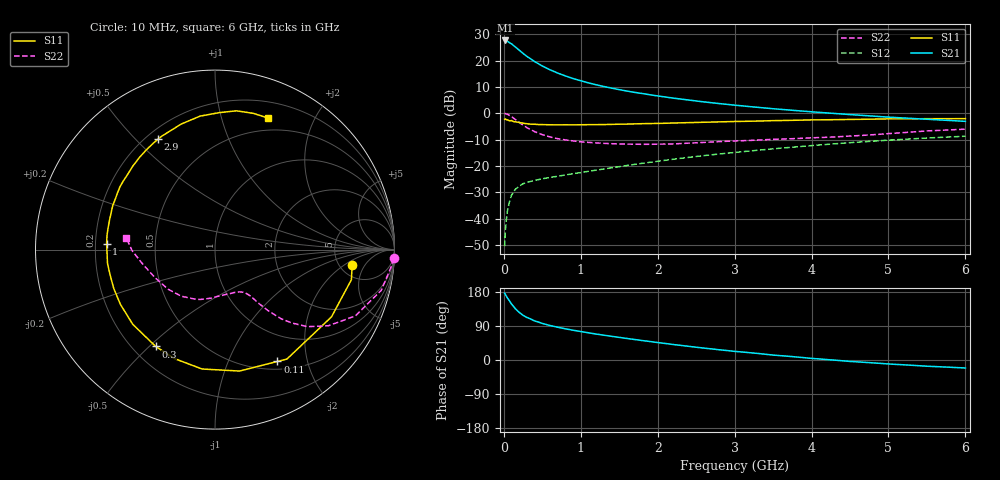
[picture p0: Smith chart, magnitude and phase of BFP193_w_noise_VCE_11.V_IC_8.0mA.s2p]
! Infineon Technologies  Discrete & RF Semiconductors
! BFP193
! VCE =  11. V,  IC =  8.0 mA
! Common Emitter S-Parameters:  Jan 2017
# GHz  S  MA  R  50
!  f  S11  S21  S12  S22
! GHz  MAG  ANG  MAG  ANG  MAG  ANG  MAG  ANG
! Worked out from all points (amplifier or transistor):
!   77 points, 10 MHz to 6 GHz, reference 50 ohm
!   highest |S21| = 27.6 dB at 20 MHz (marker M1)
!   |S21| within 3 dB of that: start of sweep to 171.6 MHz
!   unconditionally stable (mu >= 1): 1.244 GHz to 2.577 GHz
!   at 130 MHz: K = 0.19, MSG = 27.7 dB, |S12| = -29.7 dB
!   at 2.2 GHz: K = 1.04, MAG = 10.4 dB, |S12| = -17.5 dB
!   at 6 GHz: K = 0.84, MSG = 2.8 dB, |S12| = -8.7 dB
!   lowest NFmin = 0.85 dB at 450 MHz
!   S11 on the Smith chart (normalised r, x): 10 MHz: 6.55, -2.66; 110 MHz: 0.60, -1.53; 300 MHz: 0.29, -0.52; 1 GHz: 0.25, +0.03; 2.9 GHz: 0.25, +0.58; 6 GHz: 0.36, +1.42
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0.01  0.7687 -6.2  24.02 176.3  0.003 78.9  0.9975 -2.8
0.02  0.7783 -12.4  24.09 172.9  0.0059 85.4  0.985 -5.8
0.05  0.7495 -30.0  23.1 162.6  0.0149 75.7  0.9535 -13.8
0.1  0.7297 -56.7  20.84 147.6  0.0277 64.8  0.8652 -25.3
0.11  0.7137 -60.8  20.23 145.4  0.0293 62.5  0.8429 -26.8
0.15  0.6903 -78.6  18.13 135.1  0.0362 55.4  0.7607 -33.9
0.2  0.6691 -96.2  15.73 125.7  0.0412 49.9  0.6707 -39.8
0.25  0.6478 -110.4  13.69 117.8  0.0461 44.9  0.5938 -43.6
0.3  0.6329 -121.5  12 112.2  0.0489 43.1  0.5327 -46.3
0.4  0.619 -137.8  9.571 103.1  0.053 40.8  0.4474 -49.1
0.5  0.6089 -150.0  7.875 96.5  0.0571 40.1  0.3925 -50.7
0.6  0.6042 -159.0  6.691 91.0  0.0604 40.8  0.3553 -51.7
0.7  0.6012 -166.4  5.788 86.5  0.0638 41.8  0.329 -52.4
1  0.6049 176.8  4.135 75.1  0.0748 45.3  0.2865 -56.1
1.1  0.607 172.2  3.776 71.8  0.0791 46.6  0.2799 -57.7
1.5  0.6202 156.8  2.806 59.7  0.0969 49.1  0.2611 -66.6
2.1  0.6458 137.4  2.034 43.6  0.1281 49.9  0.26 -84.8
2.9  0.6917 117.4  1.475 25.0  0.1743 46.9  0.2937 -109.5
3.1  0.7015 113.1  1.38 21.1  0.1862 45.6  0.3011 -115.2
4.1  0.75 94.8  1.04 2.8  0.2497 37.1  0.3456 -143.2
5.1  0.7828 79.8  0.829 -11.6  0.3144 26.4  0.4199 -171.0
6  0.7904 67.9  0.702 -21.1  0.3667 15.9  0.4995 172.3
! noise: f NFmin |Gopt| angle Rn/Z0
0.45  0.85  0.21  129  0.09
0.9  0.97  0.36  162  0.07
1.9  1.79  0.58  -148  0.12
2.4  2.19  0.64  -129  0.31
